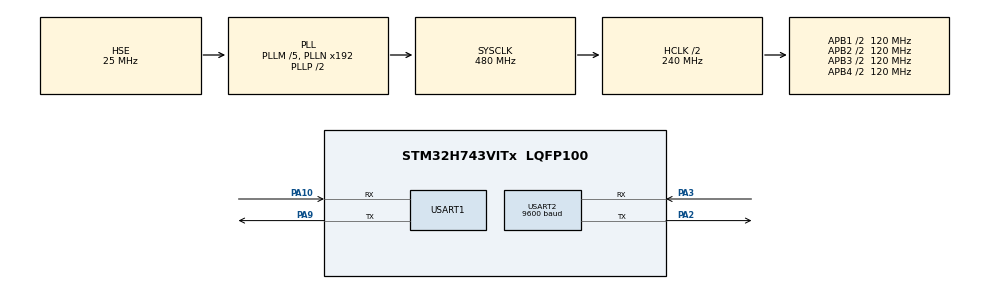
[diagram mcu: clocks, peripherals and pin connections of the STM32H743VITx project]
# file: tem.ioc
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CORTEX_M7.AccessPermission-Cortex_Memory_Protection_Unit_Region0_Settings=MPU_REGION_FULL_ACCESS
CORTEX_M7.AccessPermission-Cortex_Memory_Protection_Unit_Region1_Settings=MPU_REGION_FULL_ACCESS
CORTEX_M7.AccessPermission-Cortex_Memory_Protection_Unit_Region2_Settings=MPU_REGION_FULL_ACCESS
CORTEX_M7.AccessPermission-Cortex_Memory_Protection_Unit_Region3_Settings=MPU_REGION_FULL_ACCESS
CORTEX_M7.AccessPermission-Cortex_Memory_Protection_Unit_Region4_Settings=MPU_REGION_FULL_ACCESS
CORTEX_M7.BaseAddress-Cortex_Memory_Protection_Unit_Region0_Settings=0x24000000
CORTEX_M7.BaseAddress-Cortex_Memory_Protection_Unit_Region1_Settings=0x30000000
CORTEX_M7.BaseAddress-Cortex_Memory_Protection_Unit_Region2_Settings=0x30020000
CORTEX_M7.BaseAddress-Cortex_Memory_Protection_Unit_Region3_Settings=0x30040000
CORTEX_M7.BaseAddress-Cortex_Memory_Protection_Unit_Region4_Settings=0x38000000
CORTEX_M7.CPU_DCache=Enabled
CORTEX_M7.CPU_ICache=Enabled
CORTEX_M7.Enable-Cortex_Memory_Protection_Unit_Region0_Settings=MPU_REGION_ENABLE
CORTEX_M7.Enable-Cortex_Memory_Protection_Unit_Region1_Settings=MPU_REGION_ENABLE
CORTEX_M7.Enable-Cortex_Memory_Protection_Unit_Region2_Settings=MPU_REGION_ENABLE
CORTEX_M7.Enable-Cortex_Memory_Protection_Unit_Region3_Settings=MPU_REGION_ENABLE
CORTEX_M7.Enable-Cortex_Memory_Protection_Unit_Region4_Settings=MPU_REGION_ENABLE
CORTEX_M7.IsBufferable-Cortex_Memory_Protection_Unit_Region0_Settings=MPU_ACCESS_BUFFERABLE
CORTEX_M7.IsCacheable-Cortex_Memory_Protection_Unit_Region0_Settings=MPU_ACCESS_CACHEABLE
CORTEX_M7.MPU_Control=MPU_PRIVILEGED_DEFAULT
CORTEX_M7.Size-Cortex_Memory_Protection_Unit_Region0_Settings=MPU_REGION_SIZE_512KB
CORTEX_M7.Size-Cortex_Memory_Protection_Unit_Region1_Settings=MPU_REGION_SIZE_128KB
CORTEX_M7.Size-Cortex_Memory_Protection_Unit_Region2_Settings=MPU_REGION_SIZE_128KB
CORTEX_M7.Size-Cortex_Memory_Protection_Unit_Region3_Settings=MPU_REGION_SIZE_32KB
CORTEX_M7.Size-Cortex_Memory_Protection_Unit_Region4_Settings=MPU_REGION_SIZE_64KB
CORTEX_M7.TypeExtField-Cortex_Memory_Protection_Unit_Region0_Settings=MPU_TEX_LEVEL1
CORTEX_M7.TypeExtField-Cortex_Memory_Protection_Unit_Region1_Settings=MPU_TEX_LEVEL1
CORTEX_M7.TypeExtField-Cortex_Memory_Protection_Unit_Region2_Settings=MPU_TEX_LEVEL1
CORTEX_M7.TypeExtField-Cortex_Memory_Protection_Unit_Region3_Settings=MPU_TEX_LEVEL1
CORTEX_M7.TypeExtField-Cortex_Memory_Protection_Unit_Region4_Settings=MPU_TEX_LEVEL1
Mcu.Family=STM32H7
Mcu.Name=STM32H743VITx
Mcu.Package=LQFP100
NVIC.PriorityGroup=NVIC_PRIORITYGROUP_4
NVIC.USART2_IRQn=true\:0\:0\:false\:false\:true\:true\:true\:true
PA10.Mode=Asynchronous
PA10.Signal=USART1_RX
PA13\ (JTMS/SWDIO).Mode=Serial_Wire
PA13\ (JTMS/SWDIO).Signal=DEBUG_JTMS-SWDIO
PA14\ (JTCK/SWCLK).Mode=Serial_Wire
PA14\ (JTCK/SWCLK).Signal=DEBUG_JTCK-SWCLK
PA2.Mode=Asynchronous
PA2.Signal=USART2_TX
PA3.Mode=Asynchronous
PA3.Signal=USART2_RX
PA9.Mode=Asynchronous
PA9.Signal=USART1_TX
PH0-OSC_IN\ (PH0).Mode=HSE-External-Oscillator
PH0-OSC_IN\ (PH0).Signal=RCC_OSC_IN
PH1-OSC_OUT\ (PH1).Mode=HSE-External-Oscillator
PH1-OSC_OUT\ (PH1).Signal=RCC_OSC_OUT
ProjectManager.HeapSize=0x200
ProjectManager.StackSize=0x7400
ProjectManager.TargetToolchain=MDK-ARM V5.32
RCC.ADCFreq_Value=50390625
RCC.APB1Freq_Value=120000000
RCC.APB2Freq_Value=120000000
RCC.APB3Freq_Value=120000000
RCC.APB4Freq_Value=120000000
RCC.CortexFreq_Value=480000000
RCC.D1PPRE=RCC_APB3_DIV2
RCC.D2PPRE1=RCC_APB1_DIV2
RCC.D2PPRE2=RCC_APB2_DIV2
RCC.D3PPRE=RCC_APB4_DIV2
RCC.DIVM1=5
RCC.DIVN1=192
RCC.HCLKFreq_Value=240000000
RCC.HPRE=RCC_HCLK_DIV2
RCC.HSE_VALUE=25000000
RCC.PLLSourceVirtual=RCC_PLLSOURCE_HSE
RCC.PWR_Regulator_Voltage_Scale=PWR_REGULATOR_VOLTAGE_SCALE0
RCC.ProductRev=revV
RCC.SYSCLKFreq_VALUE=480000000
RCC.SYSCLKSource=RCC_SYSCLKSOURCE_PLLCLK
RCC.USBFreq_Value=480000000
TIM7.Prescaler=239
USART1.VirtualMode-Asynchronous=VM_ASYNC
USART2.BaudRate=9600
USART2.VirtualMode-Asynchronous=VM_ASYNC
VP_TIM7_VS_ClockSourceINT.Mode=Enable_Timer
board=custom

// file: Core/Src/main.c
/* USER CODE BEGIN Header */
/**
  ******************************************************************************
  * @file           : main.c
  * @brief          : Main program body
  ******************************************************************************
  * @attention
  *
  * Copyright (c) 2025 STMicroelectronics.
  * All rights reserved.
  *
  * This software is licensed under terms that can be found in the LICENSE file
  * in the root directory of this software component.
  * If no LICENSE file comes with this software, it is provided AS-IS.
  *
  ******************************************************************************
  */
/* USER CODE END Header */
#include "main.h"
#include "tim.h"
#include "usart.h"
#include "gpio.h"

/* USER CODE BEGIN Includes */
#include "AllHeader.h"
/* USER CODE END Includes */

/* USER CODE BEGIN PTD */
uint8_t GyroscopeUsart3RxBuffer[33];      //接收缓存
double GyroscopeChannelData[10];
uint8_t tempBuffer=0,RxBuffer;
/* USER CODE END PTD */

void SystemClock_Config(void);
static void MPU_Initialize(void);
static void MPU_Config(void);

int main(void)
{

  /* Enable I-Cache---------------------------------------------------------*/
  SCB_EnableICache();

  /* Enable D-Cache---------------------------------------------------------*/
  SCB_EnableDCache();

  /* MCU Configuration--------------------------------------------------------*/

  /* Reset of all peripherals, Initializes the Flash interface and the Systick. */
  HAL_Init();

  /* MPU Configuration--------------------------------------------------------*/
  MPU_Config();

  /* Configure the system clock */
  SystemClock_Config();

  /* Initialize all configured peripherals */
  MX_GPIO_Init();
  MX_TIM7_Init();
  MX_USART1_UART_Init();
  MX_USART2_UART_Init();
  /* USER CODE BEGIN 2 */
	//开启JY61P接收中断，注意波特率为9600
	JY61P_Init(&huart2);
  /* USER CODE END 2 */

  /* Infinite loop */
  /* USER CODE BEGIN WHILE */
  while (1)
  {
		char message[256];
		int message_len = snprintf(message, sizeof(message),
															 "Roll: %.02f', Pitch: %.02f', Yaw: %.02f'\r\n"
															 "Gx: %.02f'/s, Gy: %.02f'/s, Gz: %.02f'/s\r\n"
															 "Ax: %.02fG, Ay: %.02fG, Az: %.02fG\r\n"
															 "Temperature:%.02f'C\r\n"
															 "****************************************\r\n\r\n",
															 GyroscopeChannelData[6], GyroscopeChannelData[7], GyroscopeChannelData[8],
															 GyroscopeChannelData[3], GyroscopeChannelData[4], GyroscopeChannelData[5],
															 GyroscopeChannelData[0], GyroscopeChannelData[1], GyroscopeChannelData[2],
															 GyroscopeChannelData[9]);
		if (message_len > 0)
				HAL_UART_Transmit(&huart1, (uint8_t *)message, message_len, HAL_MAX_DELAY);
		HAL_Delay(2000);

    /* USER CODE END WHILE */

  }
}

void SystemClock_Config(void)
{
  RCC_OscInitTypeDef RCC_OscInitStruct = {0};
  RCC_ClkInitTypeDef RCC_ClkInitStruct = {0};

  /** Supply configuration update enable
  */
  HAL_PWREx_ConfigSupply(PWR_LDO_SUPPLY);

  /** Configure the main internal regulator output voltage
  */
  __HAL_PWR_VOLTAGESCALING_CONFIG(PWR_REGULATOR_VOLTAGE_SCALE1);

  while(!__HAL_PWR_GET_FLAG(PWR_FLAG_VOSRDY)) {}

  __HAL_RCC_SYSCFG_CLK_ENABLE();
  __HAL_PWR_VOLTAGESCALING_CONFIG(PWR_REGULATOR_VOLTAGE_SCALE0);

  while(!__HAL_PWR_GET_FLAG(PWR_FLAG_VOSRDY)) {}

  /** Initializes the RCC Oscillators according to the specified parameters
  * in the RCC_OscInitTypeDef structure.
  */
  RCC_OscInitStruct.OscillatorType = RCC_OSCILLATORTYPE_HSE;
  RCC_OscInitStruct.HSEState = RCC_HSE_ON;
  RCC_OscInitStruct.PLL.PLLState = RCC_PLL_ON;
  RCC_OscInitStruct.PLL.PLLSource = RCC_PLLSOURCE_HSE;
  RCC_OscInitStruct.PLL.PLLM = 5;
  RCC_OscInitStruct.PLL.PLLN = 192;
  RCC_OscInitStruct.PLL.PLLP = 2;
  RCC_OscInitStruct.PLL.PLLQ = 2;
  RCC_OscInitStruct.PLL.PLLR = 2;
  RCC_OscInitStruct.PLL.PLLRGE = RCC_PLL1VCIRANGE_2;
  RCC_OscInitStruct.PLL.PLLVCOSEL = RCC_PLL1VCOWIDE;
  RCC_OscInitStruct.PLL.PLLFRACN = 0;
  if (HAL_RCC_OscConfig(&RCC_OscInitStruct) != HAL_OK)
  {
    Error_Handler();
  }

  /** Initializes the CPU, AHB and APB buses clocks
  */
  RCC_ClkInitStruct.ClockType = RCC_CLOCKTYPE_HCLK|RCC_CLOCKTYPE_SYSCLK
                              |RCC_CLOCKTYPE_PCLK1|RCC_CLOCKTYPE_PCLK2
                              |RCC_CLOCKTYPE_D3PCLK1|RCC_CLOCKTYPE_D1PCLK1;
  RCC_ClkInitStruct.SYSCLKSource = RCC_SYSCLKSOURCE_PLLCLK;
  RCC_ClkInitStruct.SYSCLKDivider = RCC_SYSCLK_DIV1;
  RCC_ClkInitStruct.AHBCLKDivider = RCC_HCLK_DIV2;
  RCC_ClkInitStruct.APB3CLKDivider = RCC_APB3_DIV2;
  RCC_ClkInitStruct.APB1CLKDivider = RCC_APB1_DIV2;
  RCC_ClkInitStruct.APB2CLKDivider = RCC_APB2_DIV2;
  RCC_ClkInitStruct.APB4CLKDivider = RCC_APB4_DIV2;

  if (HAL_RCC_ClockConfig(&RCC_ClkInitStruct, FLASH_LATENCY_4) != HAL_OK)
  {
    Error_Handler();
  }
}

/* USER CODE BEGIN 4 */
void HAL_UART_RxCpltCallback(UART_HandleTypeDef *huart) //中断处理函数
{
  if(huart->Instance == USART2)
	{
		IT_JY61P();
	}
}
void HAL_UART_ErrorCallback(UART_HandleTypeDef *huart) //中断回调函数
{
        if(RESET != __HAL_UART_GET_FLAG(huart,UART_FLAG_IDLE))   //判断是否是空闲中断
        {
            __HAL_UART_CLEAR_IDLEFLAG(&huart2);                     //清楚空闲中断标志（否则会一直不断进入中断）
            HAL_UART_RxCpltCallback(&huart2);                          //调用中断处理函数
        }
}
/* USER CODE END 4 */

/* MPU Configuration */

void MPU_Config(void)
{
  MPU_Region_InitTypeDef MPU_InitStruct = {0};

  /* Disables the MPU */
  HAL_MPU_Disable();

  /** Initializes and configures the Region and the memory to be protected
  */
  MPU_InitStruct.Enable = MPU_REGION_ENABLE;
  MPU_InitStruct.Number = MPU_REGION_NUMBER0;
  MPU_InitStruct.BaseAddress = 0x24000000;
  MPU_InitStruct.Size = MPU_REGION_SIZE_512KB;
  MPU_InitStruct.SubRegionDisable = 0x0;
  MPU_InitStruct.TypeExtField = MPU_TEX_LEVEL1;
  MPU_InitStruct.AccessPermission = MPU_REGION_FULL_ACCESS;
  MPU_InitStruct.DisableExec = MPU_INSTRUCTION_ACCESS_ENABLE;
  MPU_InitStruct.IsShareable = MPU_ACCESS_NOT_SHAREABLE;
  MPU_InitStruct.IsCacheable = MPU_ACCESS_CACHEABLE;
  MPU_InitStruct.IsBufferable = MPU_ACCESS_BUFFERABLE;

  HAL_MPU_ConfigRegion(&MPU_InitStruct);

  /** Initializes and configures the Region and the memory to be protected
  */
  MPU_InitStruct.Number = MPU_REGION_NUMBER1;
  MPU_InitStruct.BaseAddress = 0x30000000;
  MPU_InitStruct.Size = MPU_REGION_SIZE_128KB;
  MPU_InitStruct.IsCacheable = MPU_ACCESS_NOT_CACHEABLE;
  MPU_InitStruct.IsBufferable = MPU_ACCESS_NOT_BUFFERABLE;

  HAL_MPU_ConfigRegion(&MPU_InitStruct);

  /** Initializes and configures the Region and the memory to be protected
  */
  MPU_InitStruct.Number = MPU_REGION_NUMBER2;
  MPU_InitStruct.BaseAddress = 0x30020000;

  HAL_MPU_ConfigRegion(&MPU_InitStruct);

  /** Initializes and configures the Region and the memory to be protected
  */
  MPU_InitStruct.Number = MPU_REGION_NUMBER3;
  MPU_InitStruct.BaseAddress = 0x30040000;
  MPU_InitStruct.Size = MPU_REGION_SIZE_32KB;

  HAL_MPU_ConfigRegion(&MPU_InitStruct);

  /** Initializes and configures the Region and the memory to be protected
  */
  MPU_InitStruct.Number = MPU_REGION_NUMBER4;
  MPU_InitStruct.BaseAddress = 0x38000000;
  MPU_InitStruct.Size = MPU_REGION_SIZE_64KB;

  HAL_MPU_ConfigRegion(&MPU_InitStruct);
  /* Enables the MPU */
  HAL_MPU_Enable(MPU_PRIVILEGED_DEFAULT);

}

void Error_Handler(void)
{
  __disable_irq();
  while (1)
  {
  }
}
